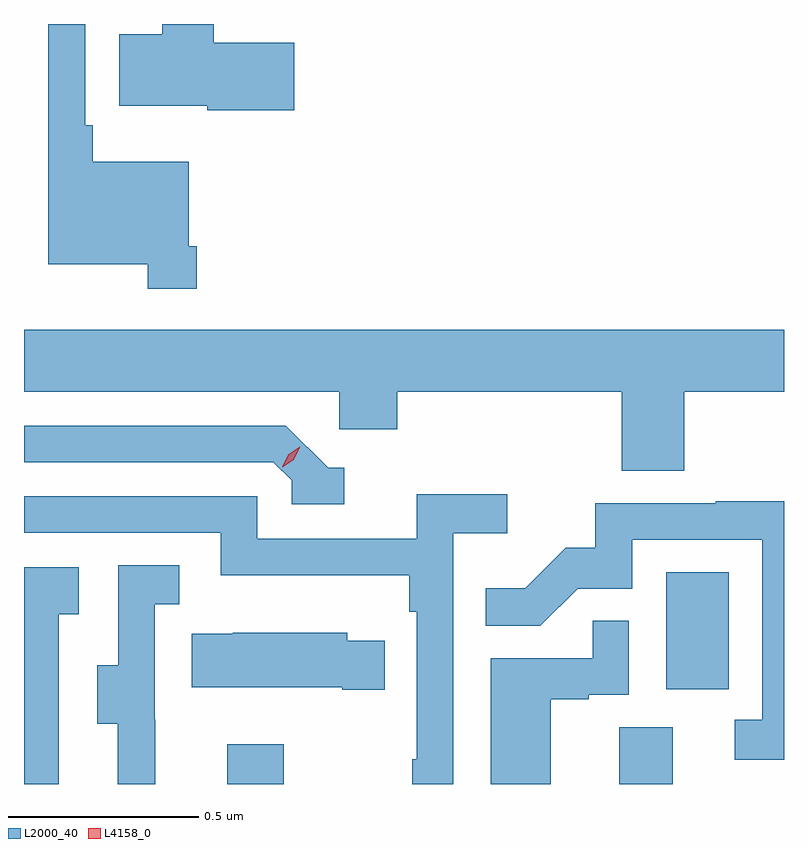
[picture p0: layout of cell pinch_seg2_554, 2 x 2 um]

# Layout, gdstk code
import gdstk
lib = gdstk.Library(unit=1e-6, precision=1e-09)
def R(c, l, rs):  # rectangles x0, y0, x1, y1
    for r in rs: c.add(gdstk.rectangle(r[:2], r[2:], *l))
def P(c, l, *ps):  # polygons
    for p in ps: c.add(gdstk.Polygon(p, *l))
L2000_40 = (2000, 40)
L4158_0 = (4158, 0)

pinch_seg2_554 = lib.new_cell('pinch_seg2_554')
R(pinch_seg2_554, L2000_40, [(1128.797,614.636,1128.945,614.74), (1129.829,614.636,1129.969,614.786), (1129.952,614.886,1130.116,615.193)])
P(pinch_seg2_554, L2000_40, [(1128.973,616.587),(1128.761,616.587),(1128.761,616.636),(1128.626,616.636),(1128.626,616.609),(1128.512,616.609),(1128.512,616.421),(1128.744,616.421),(1128.744,616.409),(1128.973,616.409)],
  [(1128.716,616.051),(1128.696,616.051),(1128.696,616.273),(1128.443,616.273),(1128.443,616.369),(1128.423,616.369),(1128.423,616.636),(1128.326,616.636),(1128.326,616.004),(1128.588,616.004),(1128.588,615.939),(1128.716,615.939)],
  [(1130,615.668),(1130.262,615.668),(1130.262,615.832),(1128.262,615.832),(1128.262,615.668),(1129.092,615.668),(1129.092,615.57),(1129.244,615.57),(1129.244,615.668),(1129.835,615.668),(1129.835,615.46),(1130,615.46)],
  [(1129.105,615.468),(1129.062,615.468),(1128.951,615.579),(1128.262,615.579),(1128.262,615.483),(1128.918,615.483),(1128.966,615.435),(1128.966,615.372),(1129.105,615.372)],
  [(1129.392,615.296),(1129.534,615.296),(1129.534,615.398),(1129.295,615.398),(1129.295,615.282),(1128.876,615.282),(1128.876,615.393),(1128.262,615.393),(1128.262,615.297),(1128.78,615.297),(1128.78,615.185),(1129.276,615.185),(1129.276,615.089),(1129.296,615.089),(1129.296,614.701),(1129.284,614.701),(1129.284,614.636),(1129.392,614.636)],
  [(1130.262,615.38),(1130.083,615.38),(1130.083,615.375),(1129.765,615.375),(1129.765,615.258),(1129.688,615.258),(1129.581,615.151),(1129.477,615.151),(1129.477,615.052),(1129.621,615.052),(1129.719,615.15),(1129.863,615.15),(1129.863,615.279),(1130.205,615.279),(1130.205,614.805),(1130.133,614.805),(1130.133,614.7),(1130.262,614.7)],
  [(1128.608,614.805),(1128.606,614.805),(1128.606,615.109),(1128.67,615.109),(1128.67,615.212),(1128.51,615.212),(1128.51,614.949),(1128.455,614.949),(1128.455,614.794),(1128.509,614.794),(1128.509,614.636),(1128.608,614.636)],
  [(1128.354,615.083),(1128.406,615.083),(1128.406,615.207),(1128.262,615.207),(1128.262,614.636),(1128.354,614.636)],
  [(1129.648,614.859),(1129.748,614.859),(1129.748,614.871),(1129.854,614.871),(1129.854,615.065),(1129.759,615.065),(1129.759,614.967),(1129.49,614.967),(1129.49,614.636),(1129.648,614.636)],
  [(1129.211,615.013),(1129.113,615.013),(1129.113,615.034),(1128.811,615.034),(1128.811,615.031),(1128.703,615.031),(1128.703,614.891),(1129.1,614.891),(1129.1,614.884),(1129.211,614.884)])
P(pinch_seg2_554, L4158_0, [(1128.941,615.469),(1128.941,615.47),(1128.957,615.502),(1128.987,615.523),(1128.988,615.523),(1128.988,615.522),(1128.972,615.489),(1128.942,615.469)])

lib.write_gds('pinch_seg2_554.gds')
